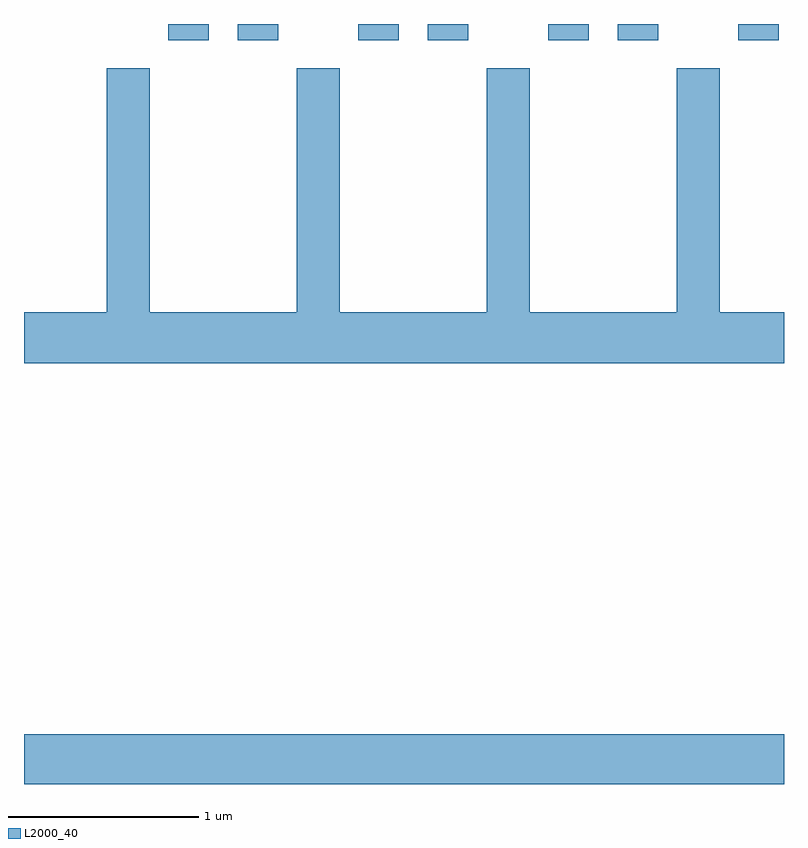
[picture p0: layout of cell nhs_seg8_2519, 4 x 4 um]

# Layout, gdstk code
import gdstk
lib = gdstk.Library(unit=1e-6, precision=1e-09)
def R(c, l, rs):  # rectangles x0, y0, x1, y1
    for r in rs: c.add(gdstk.rectangle(r[:2], r[2:], *l))
def P(c, l, *ps):  # polygons
    for p in ps: c.add(gdstk.Polygon(p, *l))
L2000_40 = (2000, 40)

nhs_seg8_2519 = lib.new_cell('nhs_seg8_2519')
R(nhs_seg8_2519, L2000_40, [(259.611,1916.342,263.611,1916.604), (260.371,1920.256,260.584,1920.342), (260.736,1920.256,260.949,1920.342), (261.371,1920.256,261.584,1920.342), (261.736,1920.256,261.949,1920.342), (262.371,1920.256,262.584,1920.342), (262.736,1920.256,262.949,1920.342), (263.371,1920.256,263.584,1920.342)])
P(nhs_seg8_2519, L2000_40, [(263.611,1918.824),(263.274,1918.824),(263.274,1920.109),(263.046,1920.109),(263.046,1918.824),(262.274,1918.824),(262.274,1920.109),(262.046,1920.109),(262.046,1918.824),(261.274,1918.824),(261.274,1920.109),(261.046,1920.109),(261.046,1918.824),(260.274,1918.824),(260.274,1920.109),(260.046,1920.109),(260.046,1918.824),(259.611,1918.824),(259.611,1918.556),(263.611,1918.556)])

lib.write_gds('nhs_seg8_2519.gds')
